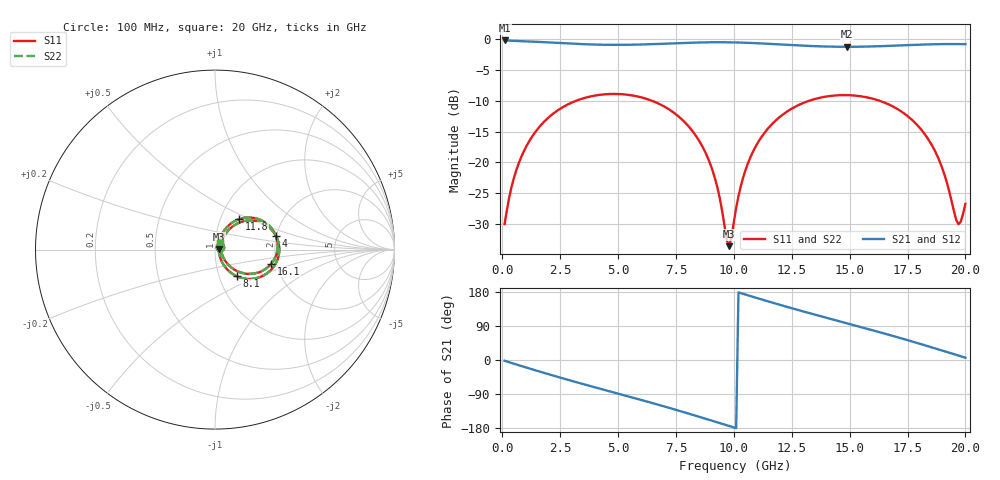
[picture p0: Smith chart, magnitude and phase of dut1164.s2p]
! Touchstone file exported from HFSS 2026.1.0
!  File:  C:/ffzhzh/LocalFiles/Ansys_Project_Files/temp_train_TSV_RDL_1164_1783313034_38820.aedt
!  Generated:  12:59:13 PM Jul  6, 2026
!  Design:  TSV_RDL
!  Project:  temp_train_TSV_RDL_1164_1783313034_38820
! Variables:
!  h_bsmrdl = 2.93um
!  h_ox = 20um
!  h_rdl = 5um
!  h_sub = 89.68um
!  h_tmrdl = 4.1um
!  h_tsv = 89.68um
!  h_via = 3um
!  l_bsmrdl = 752.74um
!  l_sub = 5805.59um
!  l_tmrdl = 757.3um
!  m_sub = 200um
!  pitch = 34.93um
!  r_tsv = 10.83um
!  s_tmrdl = 10um
!  w_bsmrdl = 19.88um
!  w_sub = 500um
!  w_tmrdl = 19.51um
!  x_tsv_center1 = 767.055um
!  x_tsv_center2 = 1539.675um
!  x_tsv_center3 = 2316.485um
!  x_tsv_center4 = 3089.105um
!  x_tsv_center5 = 3865.915um
!  x_tsv_center6 = 4638.535um
# GHz S MA R 50.000000
! Terminal data exported
! Port[1] = TM_RDL1_1_T1
! Port[2] = TM_RDL5_1_T1
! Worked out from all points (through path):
!   200 points, 100 MHz to 20 GHz, reference 50 ohm
!   highest |S21| = -0.25 dB at 100 MHz (marker M1); lowest = -1.3 dB at 14.9 GHz (marker M2)
!   group delay of S21, straight-line fit = 48.8 ps
!   lowest |S11| = -33.6 dB at 9.8 GHz (marker M3), VSWR 1.04, Z = 52.1 + j0.26 ohm
!   |S11| at or under -10 dB: start of sweep to 3.2 GHz; 6.451 GHz to 13.27 GHz (6.817 GHz wide, 69.1 % of centre); 16.28 GHz to end of sweep
!   |S22| runs from -33.6 to -8.9 dB; largest |S21 - S12| = 2.4e-14
!   S11 on the Smith chart (normalised r, x): 100 MHz: 1.06, +0.03; 4 GHz: 1.98, +0.35; 8.1 GHz: 1.21, -0.37; 11.8 GHz: 1.23, +0.44; 16.1 GHz: 1.88, -0.33; 20 GHz: 1.06, +0.08
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0.1  0.03161 26.2  0.972 -2.1  0.972 -2.1  0.03161 26.2
! Gamma 0 0 0 0
! Port Impedance 50 0 50 0
0.5  0.07463 54.2  0.9651 -9.8  0.9651 -9.8  0.07463 54.2
1.2  0.1524 53.6  0.9532 -23.0  0.9532 -23.0  0.1524 53.6
2.2  0.2484 40.7  0.9324 -41.2  0.9324 -41.2  0.2484 40.7
3.5  0.3305 20.7  0.9071 -63.7  0.9071 -63.7  0.3304 20.8
4  0.3477 13.0  0.9006 -72.1  0.9006 -72.1  0.3477 13.0
5.4  0.3532 -8.8  0.8968 -95.4  0.8968 -95.4  0.3532 -8.7
6.8  0.2963 -30.8  0.9118 -119.2  0.9118 -119.2  0.2963 -30.8
8.1  0.1907 -50.9  0.9313 -142.4  0.9313 -142.4  0.1907 -50.8
9.1  0.08365 -60.7  0.9398 -161.0  0.9398 -161.0  0.08366 -60.6
9.8  0.02096 6.8  0.9388 -174.2  0.9388 -174.2  0.02092 6.8
10.1  0.04271 57.5  0.9365 -179.8  0.9365 -179.8  0.04266 57.6
10.7  0.1083 64.8  0.9286 169.0  0.9286 169.0  0.1082 64.9
11.8  0.2178 51.3  0.9067 148.9  0.9067 148.9  0.2177 51.4
13.4  0.3221 26.9  0.8751 121.4  0.8751 121.4  0.322 27.0
14.9  0.3505 4.2  0.8636 96.6  0.8636 96.6  0.3505 4.3
16.1  0.324 -13.9  0.8707 76.7  0.8707 76.7  0.3239 -13.7
16.7  0.2941 -23.0  0.8785 66.4  0.8785 66.4  0.2941 -22.8
18.5  0.1433 -47.0  0.9044 34.2  0.9044 34.2  0.1433 -46.7
19  0.08985 -48.1  0.9082 24.9  0.9082 24.9  0.08995 -47.7
19.7  0.03156 5.4  0.9087 11.7  0.9087 11.7  0.03189 5.6
20  0.04613 50.3  0.907 6.1  0.907 6.1  0.04635 50.2
